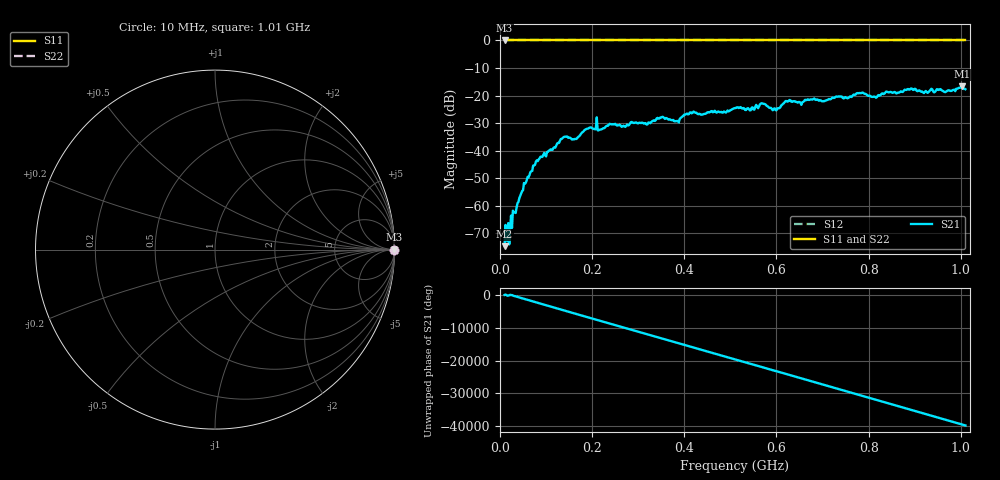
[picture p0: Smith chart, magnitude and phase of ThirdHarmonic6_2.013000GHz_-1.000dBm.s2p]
! 8/17/2025 12:10:28 AM
! C:\ANRITSUVNA\TEMP\TEMP.S2P
! CHANNEL.1
! TR.MEASUREMENT
! RAW.DATA
! RF.CORRECTION.OFF
! AVERAGING.OFF
! IF.BANDWIDTH: 5KHZ
! SWEEPTYPE:  FREQ.SWEEP(Linear)
! Reference Plane Port Info
! PORT:  PORT1  PORT2
! DISTANCE:  0  m  0  m
! TIME:  0  s  0  s
! PHASE.OFFSET:  0  deg.  0  deg.
! LOSS:  0  dB  0  dB
! REF.LOSS:  0  dB  0  dB
! REF.FREQ:  0  Hz  0  Hz
! Power Info
! POWER:  -20  dBm  -20  dBm
! EFF.POWER:  -20  dBm  -20  dBm
! SOURCE.ATTEN:  0  dB  0  dB
! TEST.ATTEN:  0  dB  0  dB
# GHZ S RI R 50.0
! FREQ.GHZ  S11RE  S11IM  S21RE  S21IM  S12RE  S12IM  S22RE  S22IM
!; PortSelection: Port_12
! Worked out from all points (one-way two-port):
!   501 points, 10 MHz to 1.01 GHz, reference 50 ohm
!   highest |S21| = -16.58 dB at 1.002 GHz (marker M1); lowest = -74.6 dB at 10 MHz (marker M2)
!   lowest |S11| = 0.0 dB at 10 MHz (marker M3)
!   |S11| at or under -10 dB: nowhere
!   |S22| runs from 0.0 to 0.0 dB; largest |S21 - S12| = 1.1
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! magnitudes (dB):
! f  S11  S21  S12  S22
! 10 MHz  0.0  -74.6  0.0  0.0
! 18 MHz  0.0  -66.3  0.0  0.0
! 28 MHz  0.0  -61.7  0.0  0.0
! 56 MHz  0.0  -51.6  0.0  0.0
! 76 MHz  0.0  -45.1  0.0  0.0
! 136 MHz  0.0  -35.4  0.0  0.0
! 162 MHz  0.0  -35.8  0.0  0.0
! 178 MHz  0.0  -33.4  0.0  0.0
! 206 MHz  0.0  -32.2  0.0  0.0
! 344 MHz  0.0  -28.4  0.0  0.0
! 384 MHz  0.0  -29.2  0.0  0.0
! 416 MHz  0.0  -26.4  0.0  0.0
! 510 MHz  0.0  -24.6  0.0  0.0
! 570 MHz  0.0  -22.9  0.0  0.0
! 596 MHz  0.0  -24.6  0.0  0.0
! 624 MHz  0.0  -22.2  0.0  0.0
! 678 MHz  0.0  -21.5  0.0  0.0
! 784 MHz  0.0  -19.1  0.0  0.0
! 814 MHz  0.0  -20.5  0.0  0.0
! 844 MHz  0.0  -18.8  0.0  0.0
! 1.002 GHz  0.0  -16.6  0.0  0.0
! 1.01 GHz  0.0  -17.7  0.0  0.0
